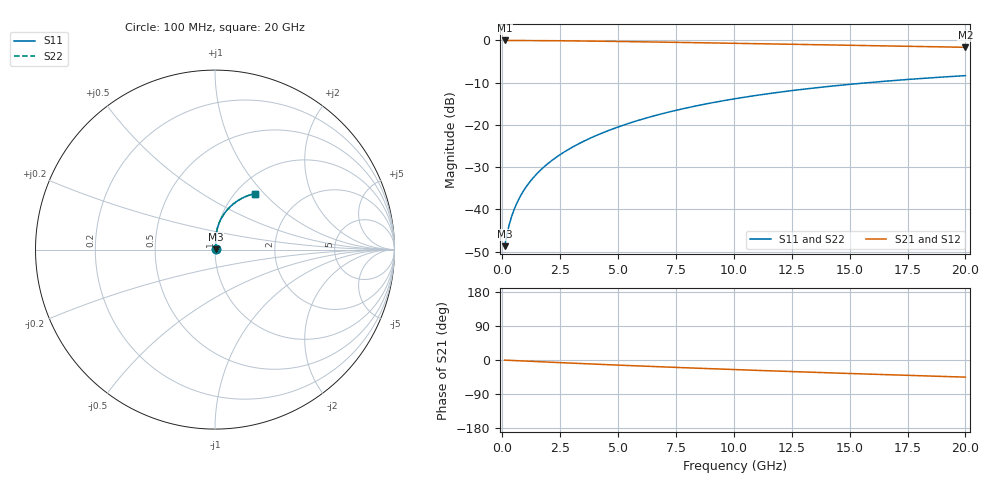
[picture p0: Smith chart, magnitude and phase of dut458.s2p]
! Touchstone file exported from HFSS 2024.1.0
!  File:  C:/UserFiles/LocalFiles/RDL_TSV_Batchsim/temp_RDL_top_458_1779677431.aedt
!  Generated:  10:52:59 AM May 25, 2026
!  Design:  RDL_top
!  Project:  temp_RDL_top_458_1779677431
!  Setup:  Setup1
!  Solution:  Sweep
! Variables:
!  dtsv = 10.80580581um
!  hbump = 3um
!  htsv = 71.72um
!  ldown = 100um
!  lrdl = 633.22um
!  p = 40
!  p1 = 56.9um
!  rhole = 1um
!  t = 450um
!  tdown = 3.915915916um
!  trdl = 2.99um
!  wdown = 15.38538539um
!  wrdl = 26.64um
# GHz S MA R 50.000000
! Terminal data exported
! Port[1] = Box2_T1
! Port[2] = Box2_T2
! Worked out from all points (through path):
!   200 points, 100 MHz to 20 GHz, reference 50 ohm
!   highest |S21| = -0.03 dB at 100 MHz (marker M1); lowest = -1.6 dB at 20 GHz (marker M2)
!   group delay of S21, straight-line fit = 6.2 ps
!   lowest |S11| = -48.7 dB at 100 MHz (marker M3), VSWR 1.01, Z = 50.3 + j0.198 ohm
!   |S11| at or under -10 dB: start of sweep to 15.84 GHz
!   |S22| runs from -48.7 to -8.4 dB; largest |S21 - S12| = 3.1e-14
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0.1  0.003657 32.5  0.9969 -0.3  0.9969 -0.3  0.003657 32.5
! Gamma 0 0 0 0
! Port Impedance 50 0 50 0
0.2  0.005031 49.9  0.9967 -0.6  0.9967 -0.6  0.005031 49.9
0.3  0.006584 58.8  0.9965 -0.9  0.9965 -0.9  0.006584 58.8
0.4  0.008165 64.2  0.9962 -1.2  0.9962 -1.2  0.008165 64.2
0.5  0.009755 68.0  0.996 -1.4  0.996 -1.4  0.009755 68.0
0.6  0.01136 70.9  0.9958 -1.7  0.9958 -1.7  0.01136 70.9
0.8  0.01461 74.9  0.9953 -2.3  0.9953 -2.3  0.01461 74.9
1.1  0.0196 78.8  0.9945 -3.1  0.9945 -3.1  0.0196 78.8
1.3  0.023 80.5  0.9939 -3.7  0.9939 -3.7  0.023 80.5
1.6  0.02819 82.3  0.9929 -4.5  0.9929 -4.5  0.02819 82.3
2.1  0.03709 84.2  0.9907 -5.9  0.9907 -5.9  0.03709 84.2
2.7  0.04815 85.4  0.9874 -7.5  0.9874 -7.5  0.04815 85.4
3.5  0.06356 86.0  0.9821 -9.6  0.9821 -9.6  0.06355 86.0
4.2  0.07761 85.9  0.9768 -11.5  0.9768 -11.5  0.0776 85.9
5  0.09423 85.3  0.9702 -13.5  0.9702 -13.5  0.09421 85.3
6.8  0.133 82.7  0.9538 -17.9  0.9538 -17.9  0.133 82.7
8.4  0.168 79.5  0.9385 -21.6  0.9385 -21.6  0.168 79.5
10.1  0.2047 75.8  0.9219 -25.4  0.9219 -25.4  0.2046 75.8
11.7  0.2379 72.2  0.9062 -28.9  0.9062 -28.9  0.2378 72.2
13.4  0.2715 68.4  0.8897 -32.4  0.8897 -32.4  0.2714 68.4
16.7  0.3309 61.3  0.858 -39.0  0.858 -39.0  0.3308 61.3
20  0.3821 54.7  0.8273 -45.2  0.8273 -45.2  0.3819 54.7
